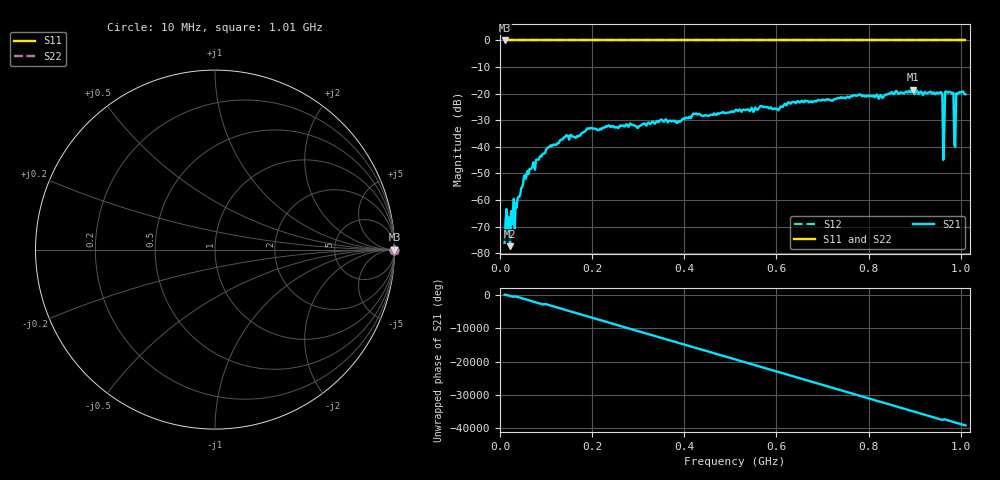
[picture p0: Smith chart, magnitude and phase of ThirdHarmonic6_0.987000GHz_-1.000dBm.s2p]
! 8/16/2025 7:45:22 AM
! C:\ANRITSUVNA\TEMP\TEMP.S2P
! CHANNEL.1
! TR.MEASUREMENT
! RAW.DATA
! RF.CORRECTION.OFF
! AVERAGING.OFF
! IF.BANDWIDTH: 5KHZ
! SWEEPTYPE:  FREQ.SWEEP(Linear)
! Reference Plane Port Info
! PORT:  PORT1  PORT2
! DISTANCE:  0  m  0  m
! TIME:  0  s  0  s
! PHASE.OFFSET:  0  deg.  0  deg.
! LOSS:  0  dB  0  dB
! REF.LOSS:  0  dB  0  dB
! REF.FREQ:  0  Hz  0  Hz
! Power Info
! POWER:  -20  dBm  -20  dBm
! EFF.POWER:  -20  dBm  -20  dBm
! SOURCE.ATTEN:  0  dB  0  dB
! TEST.ATTEN:  0  dB  0  dB
# GHZ S RI R 50.0
! FREQ.GHZ  S11RE  S11IM  S21RE  S21IM  S12RE  S12IM  S22RE  S22IM
!; PortSelection: Port_12
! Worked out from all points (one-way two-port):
!   501 points, 10 MHz to 1.01 GHz, reference 50 ohm
!   highest |S21| = -18.55 dB at 896 MHz (marker M1); lowest = -77.4 dB at 22 MHz (marker M2)
!   lowest |S11| = 0.0 dB at 10 MHz (marker M3)
!   |S11| at or under -10 dB: nowhere
!   |S22| runs from 0.0 to 0.0 dB; largest |S21 - S12| = 1.1
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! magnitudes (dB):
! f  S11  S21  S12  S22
! 10 MHz  0.0  -76.1  0.0  0.0
! 16 MHz  0.0  -71.9  0.0  0.0
! 22 MHz  0.0  -77.4  0.0  0.0
! 50 MHz  0.0  -53.9  0.0  0.0
! 68 MHz  0.0  -48.2  0.0  0.0
! 106 MHz  0.0  -40.1  0.0  0.0
! 178 MHz  0.0  -34.7  0.0  0.0
! 194 MHz  0.0  -33.2  0.0  0.0
! 344 MHz  0.0  -30.8  0.0  0.0
! 510 MHz  0.0  -26.4  0.0  0.0
! 678 MHz  0.0  -23.3  0.0  0.0
! 844 MHz  0.0  -20.0  0.0  0.0
! 896 MHz  0.0  -18.6  0.0  0.0
! 956 MHz  0.0  -19.4  0.0  0.0
! 960 MHz  0.0  -20.4  0.0  0.0
! 966 MHz  0.0  -19.3  0.0  0.0
! 970 MHz  0.0  -19.4  0.0  0.0
! 980 MHz  0.0  -19.9  0.0  0.0
! 984 MHz  0.0  -19.7  0.0  0.0
! 990 MHz  0.0  -19.9  0.0  0.0
! 994 MHz  0.0  -19.9  0.0  0.0
! 1.01 GHz  0.0  -20.2  0.0  0.0
